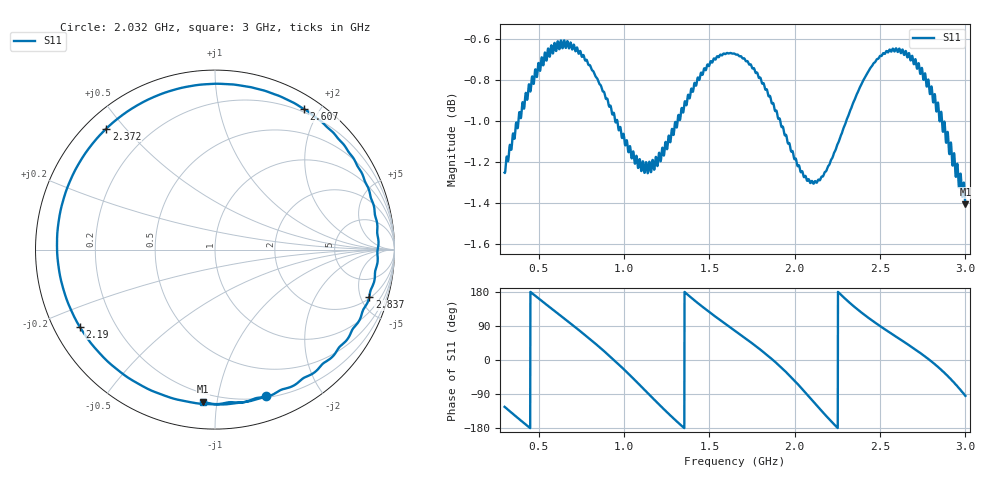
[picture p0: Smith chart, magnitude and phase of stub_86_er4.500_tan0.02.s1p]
! Chirptenna · simulación 3D de un stub abierto
# HZ S RI R 50
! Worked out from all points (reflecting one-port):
!   2001 points, 300 MHz to 3 GHz, reference 50 ohm
!   lowest |S11| = -1.4 dB at 3 GHz (marker M1), VSWR 12.38, Z = 7.43 - j45.5 ohm
!   phase of S11 starts at -124 deg and turns -1051 deg over the sweep
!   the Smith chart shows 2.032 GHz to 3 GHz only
!   S11 on the Smith chart (normalised r, x): 2.032 GHz: 0.21, -1.39; 2.19 GHz: 0.08, -0.26; 2.372 GHz: 0.06, +0.44; 2.607 GHz: 0.16, +1.81; 2.837 GHz: 2.12, -5.89; 3 GHz: 0.15, -0.91
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3e8  -0.4792 -0.7211
4.6875e8  -0.9038 0.1062
6.375e8  -0.37 0.8517
7.9005e8  0.476 0.7871
8.8995e8  0.8458 0.3172
9.75e8  0.8603 -0.2196
1.06545e9  0.5118 -0.7041
1.14105e9  0.0264 -0.8658
1.2153e9  -0.4593 -0.7407
1.3125e9  -0.8531 -0.2538
1.40025e9  -0.8613 0.2816
1.49745e9  -0.5561 0.7316
1.65e9  0.207 0.9018
1.8417e9  0.8867 0.1827
1.9173e9  0.8453 -0.2792
1.9875e9  0.5715 -0.6642
2.03205e9  0.2863 -0.8182
2.10765e9  -0.279 -0.8142
2.19e9  -0.7546 -0.4285
2.2548e9  -0.8803 0.012
2.325e9  -0.7746 0.4513
2.37225e9  -0.6054 0.6743
2.48565e9  -0.0641 0.9204
2.60715e9  0.4959 0.7831
2.6625e9  0.6947 0.6089
2.83665e9  0.8596 -0.2653
2.92845e9  0.474 -0.731
3e9  -0.0691 -0.8477
